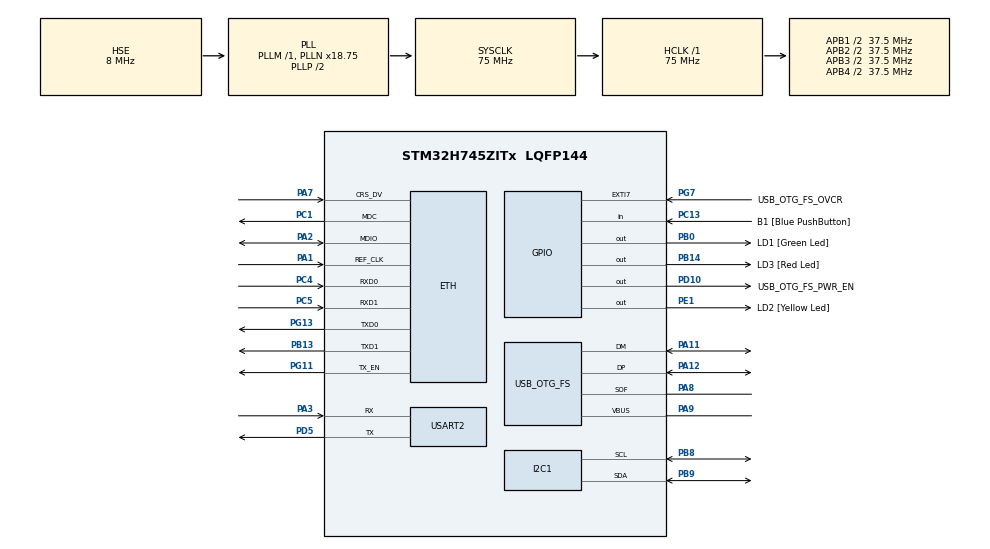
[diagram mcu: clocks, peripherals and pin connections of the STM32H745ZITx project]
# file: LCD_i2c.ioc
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CortexM4.IPs=FATFS_M4\:I,FREERTOS_M4\:I,IWDG2\:I,RCC,WWDG2\:I,DMA,BDMA,MDMA,NVIC2\:I,ETH,DEBUG,USB_DEVICE_M4\:I,USB_HOST_M4\:I,PDM2PCM_M4\:I,PWR,RESMGR_UTILITY,SYS_M4\:I,CORTEX_M4\:I,OPENAMP_M4\:I,VREFBUF,GPIO
CortexM7.IPs=FATFS_M7\:I,FREERTOS_M7\:I,IWDG1\:I,RCC\:I,WWDG1\:I,DMA\:I,BDMA\:I,MDMA\:I,NVIC1\:I,SYS\:I,USB_OTG_FS\:I,ETH\:I,CORTEX_M7\:I,DEBUG\:I,USB_DEVICE_M7\:I,USB_HOST_M7\:I,PDM2PCM_M7\:I,PWR\:I,RESMGR_UTILITY\:I,OPENAMP_M7\:I,VREFBUF\:I,GPIO\:I,I2C1\:I,USART2\:I
ETH.MediaInterface=HAL_ETH_RMII_MODE
FREERTOS_M7.Tasks01=defaultTask,24,128,StartDefaultTask,Default,NULL,Dynamic,NULL,NULL;taskLCD,24,128,startLCD,Default,NULL,Dynamic,NULL,NULL
I2C1.Timing=0x00909FCE
Mcu.Family=STM32H7
Mcu.Name=STM32H745ZITx
Mcu.Package=LQFP144
NVIC1.PriorityGroup=NVIC_PRIORITYGROUP_4
NVIC2.PriorityGroup=NVIC_PRIORITYGROUP_4
PA1.Mode=RMII
PA1.PinAttribute=CortexM7
PA1.Signal=ETH_REF_CLK
PA11.Mode=Device_Only
PA11.PinAttribute=CortexM7
PA11.Signal=USB_OTG_FS_DM
PA12.Mode=Device_Only
PA12.PinAttribute=CortexM7
PA12.Signal=USB_OTG_FS_DP
PA2.Mode=RMII
PA2.PinAttribute=CortexM7
PA2.Signal=ETH_MDIO
PA3.Mode=Asynchronous
PA3.PinAttribute=CortexM7
PA3.Signal=USART2_RX
PA7.Mode=RMII
PA7.PinAttribute=CortexM7
PA7.Signal=ETH_CRS_DV
PA8.Mode=Activate_SOF_FS
PA8.PinAttribute=CortexM7
PA8.Signal=USB_OTG_FS_SOF
PA9.Mode=Activate_VBUS
PA9.PinAttribute=CortexM7
PA9.Signal=USB_OTG_FS_VBUS
PB0.GPIO_Label=LD1 [Green Led]
PB0.PinAttribute=Free
PB0.Signal=GPIO_Output
PB13.Mode=RMII
PB13.PinAttribute=CortexM7
PB13.Signal=ETH_TXD1
PB14.GPIO_Label=LD3 [Red Led]
PB14.PinAttribute=Free
PB14.Signal=GPIO_Output
PB8.Mode=I2C
PB8.PinAttribute=CortexM7
PB8.Signal=I2C1_SCL
PB9.Mode=I2C
PB9.PinAttribute=CortexM7
PB9.Signal=I2C1_SDA
PC1.Mode=RMII
PC1.PinAttribute=CortexM7
PC1.Signal=ETH_MDC
PC13.GPIO_Label=B1 [Blue PushButton]
PC13.PinAttribute=Free
PC13.Signal=GPIO_Input
PC14-OSC32_IN\ (OSC32_IN).Mode=LSE-External-Oscillator
PC14-OSC32_IN\ (OSC32_IN).PinAttribute=CortexM7
PC14-OSC32_IN\ (OSC32_IN).Signal=RCC_OSC32_IN
PC15-OSC32_OUT\ (OSC32_OUT).Mode=LSE-External-Oscillator
PC15-OSC32_OUT\ (OSC32_OUT).PinAttribute=CortexM7
PC15-OSC32_OUT\ (OSC32_OUT).Signal=RCC_OSC32_OUT
PC4.Mode=RMII
PC4.PinAttribute=CortexM7
PC4.Signal=ETH_RXD0
PC5.Mode=RMII
PC5.PinAttribute=CortexM7
PC5.Signal=ETH_RXD1
PD10.GPIO_Label=USB_OTG_FS_PWR_EN
PD10.PinAttribute=Free
PD10.Signal=GPIO_Output
PD5.Mode=Asynchronous
PD5.PinAttribute=CortexM7
PD5.Signal=USART2_TX
PD8.GPIO_Label=STLINK_RX
PD8.PinAttribute=CortexM4
PD8.Signal=USART3_TX
PD9.GPIO_Label=STLINK_TX
PD9.PinAttribute=CortexM4
PD9.Signal=USART3_RX
PE1.GPIO_Label=LD2 [Yellow Led]
PE1.PinAttribute=Free
PE1.Signal=GPIO_Output
PG11.Mode=RMII
PG11.PinAttribute=CortexM7
PG11.Signal=ETH_TX_EN
PG13.Mode=RMII
PG13.PinAttribute=CortexM7
PG13.Signal=ETH_TXD0
PG7.GPIO_Label=USB_OTG_FS_OVCR
PG7.PinAttribute=Free
PG7.Signal=GPXTI7
PH0-OSC_IN\ (PH0).Mode=HSE-External-Clock-Source
PH0-OSC_IN\ (PH0).PinAttribute=CortexM7
PH0-OSC_IN\ (PH0).Signal=RCC_OSC_IN
PH1-OSC_OUT\ (PH1).PinAttribute=CortexM7
PH1-OSC_OUT\ (PH1).Signal=RCC_OSC_OUT
ProjectManager.HeapSize=M4-0x200,M7-0x200
ProjectManager.StackSize=M4-0x400,M7-0x400
ProjectManager.TargetToolchain=STM32CubeIDE
RCC.ADCFreq_Value=16125000
RCC.APB1Freq_Value=37500000
RCC.APB2Freq_Value=37500000
RCC.APB3Freq_Value=37500000
RCC.APB4Freq_Value=37500000
RCC.CortexFreq_Value=75000000
RCC.D1PPRE=RCC_APB3_DIV2
RCC.D2PPRE1=RCC_APB1_DIV2
RCC.D2PPRE2=RCC_APB2_DIV2
RCC.D3PPRE=RCC_APB4_DIV2
RCC.DIVM1=1
RCC.DIVM3=1
RCC.DIVN1=18
RCC.DIVN3=18
RCC.DIVQ3=3
RCC.HCLKFreq_Value=75000000
RCC.HSE_VALUE=8000000
RCC.PLL2FRACN=0
RCC.PLL3FRACN=6144
RCC.PLLFRACN=6144
RCC.SYSCLKFreq_VALUE=75000000
RCC.SYSCLKSource=RCC_SYSCLKSOURCE_PLLCLK
RCC.SupplySource=PWR_DIRECT_SMPS_SUPPLY
RCC.USBCLockSelection=RCC_USBCLKSOURCE_PLL3
RCC.USBFreq_Value=50000000
USART2.VirtualMode-Asynchronous=VM_ASYNC
USB_OTG_FS.VirtualMode=Device_Only
VP_FREERTOS_M7_VS_CMSIS_V2.Mode=CMSIS_V2
VP_SYS_M4_VS_Systick.Mode=SysTick
board=NUCLEO-H745ZI-Q

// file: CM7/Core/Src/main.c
/* USER CODE BEGIN Header */
/**
  ******************************************************************************
  * @file           : main.c
  * @brief          : Main program body
  ******************************************************************************
  * @attention
  *
  * Copyright (c) 2023 STMicroelectronics.
  * All rights reserved.
  *
  * This software is licensed under terms that can be found in the LICENSE file
  * in the root directory of this software component.
  * If no LICENSE file comes with this software, it is provided AS-IS.
  *
  ******************************************************************************
  */
/* USER CODE END Header */
#include "main.h"
#include "string.h"
#include "cmsis_os.h"

/* USER CODE BEGIN Includes */
#include <stdio.h>
#include "i2c-lcd.h"
/* USER CODE END Includes */

/* USER CODE BEGIN PD */

#ifndef HSEM_ID_0
#define HSEM_ID_0 (0U) /* HW semaphore 0*/
#endif

/* USER CODE END PD */

#if defined ( __ICCARM__ ) /*!< IAR Compiler */
#pragma location=0x30000000
ETH_DMADescTypeDef  DMARxDscrTab[ETH_RX_DESC_CNT]; /* Ethernet Rx DMA Descriptors */
#pragma location=0x30000200
ETH_DMADescTypeDef  DMATxDscrTab[ETH_TX_DESC_CNT]; /* Ethernet Tx DMA Descriptors */

#elif defined ( __CC_ARM )  /* MDK ARM Compiler */

__attribute__((at(0x30000000))) ETH_DMADescTypeDef  DMARxDscrTab[ETH_RX_DESC_CNT]; /* Ethernet Rx DMA Descriptors */
__attribute__((at(0x30000200))) ETH_DMADescTypeDef  DMATxDscrTab[ETH_TX_DESC_CNT]; /* Ethernet Tx DMA Descriptors */

#elif defined ( __GNUC__ ) /* GNU Compiler */
ETH_DMADescTypeDef DMARxDscrTab[ETH_RX_DESC_CNT] __attribute__((section(".RxDecripSection"))); /* Ethernet Rx DMA Descriptors */
ETH_DMADescTypeDef DMATxDscrTab[ETH_TX_DESC_CNT] __attribute__((section(".TxDecripSection")));   /* Ethernet Tx DMA Descriptors */

#endif

ETH_TxPacketConfig TxConfig;

ETH_HandleTypeDef heth;

I2C_HandleTypeDef hi2c1;

UART_HandleTypeDef huart2;

PCD_HandleTypeDef hpcd_USB_OTG_FS;

/* Definitions for defaultTask */
osThreadId_t defaultTaskHandle;
const osThreadAttr_t defaultTask_attributes = {
  .name = "defaultTask",
  .stack_size = 128 * 4,
  .priority = (osPriority_t) osPriorityNormal,
};
/* Definitions for taskLCD */
osThreadId_t taskLCDHandle;
const osThreadAttr_t taskLCD_attributes = {
  .name = "taskLCD",
  .stack_size = 128 * 4,
  .priority = (osPriority_t) osPriorityNormal,
};

void SystemClock_Config(void);
static void MX_GPIO_Init(void);
static void MX_ETH_Init(void);
static void MX_USB_OTG_FS_PCD_Init(void);
static void MX_I2C1_Init(void);
static void MX_USART2_UART_Init(void);
void StartDefaultTask(void *argument);
void startLCD(void *argument);

/* USER CODE BEGIN 0 */
int row=0;
int col=0;
/* USER CODE END 0 */

int main(void)
{
/* USER CODE BEGIN Boot_Mode_Sequence_0 */
  int32_t timeout;
/* USER CODE END Boot_Mode_Sequence_0 */

/* USER CODE BEGIN Boot_Mode_Sequence_1 */
  /* Wait until CPU2 boots and enters in stop mode or timeout*/
  timeout = 0xFFFF;
  while((__HAL_RCC_GET_FLAG(RCC_FLAG_D2CKRDY) != RESET) && (timeout-- > 0));
  if ( timeout < 0 )
  {
  Error_Handler();
  }
/* USER CODE END Boot_Mode_Sequence_1 */
  /* MCU Configuration--------------------------------------------------------*/

  /* Reset of all peripherals, Initializes the Flash interface and the Systick. */
  HAL_Init();

  /* Configure the system clock */
  SystemClock_Config();
/* USER CODE BEGIN Boot_Mode_Sequence_2 */
/* When system initialization is finished, Cortex-M7 will release Cortex-M4 by means of
HSEM notification */
/*HW semaphore Clock enable*/
__HAL_RCC_HSEM_CLK_ENABLE();
/*Take HSEM */
HAL_HSEM_FastTake(HSEM_ID_0);
/*Release HSEM in order to notify the CPU2(CM4)*/
HAL_HSEM_Release(HSEM_ID_0,0);
/* wait until CPU2 wakes up from stop mode */
timeout = 0xFFFF;
while((__HAL_RCC_GET_FLAG(RCC_FLAG_D2CKRDY) == RESET) && (timeout-- > 0));
if ( timeout < 0 )
{
Error_Handler();
}
/* USER CODE END Boot_Mode_Sequence_2 */

  /* Initialize all configured peripherals */
  MX_GPIO_Init();
  MX_ETH_Init();
  MX_USB_OTG_FS_PCD_Init();
  MX_I2C1_Init();
  MX_USART2_UART_Init();

  /* Init scheduler */
  osKernelInitialize();

  /* Create the thread(s) */
  /* creation of defaultTask */
  defaultTaskHandle = osThreadNew(StartDefaultTask, NULL, &defaultTask_attributes);

  /* creation of taskLCD */
  taskLCDHandle = osThreadNew(startLCD, NULL, &taskLCD_attributes);

  /* Start scheduler */
  osKernelStart();

  /* We should never get here as control is now taken by the scheduler */
  /* Infinite loop */
  while (1)
  {

    /* USER CODE BEGIN 3 */
	  for (int i=0;i<128;i++)
	  {
		  lcd_put_cur(row, col);

		  lcd_send_data(i+48);

		  col++;

		  if (col > 15) {row++; col = 0;}
		  if (row > 1) row=0;

		  HAL_Delay(250);
	  }
  }
  /* USER CODE END 3 */
}

void SystemClock_Config(void)
{
  RCC_OscInitTypeDef RCC_OscInitStruct = {0};
  RCC_ClkInitTypeDef RCC_ClkInitStruct = {0};

  /** Supply configuration update enable
  */
  HAL_PWREx_ConfigSupply(PWR_DIRECT_SMPS_SUPPLY);

  /** Configure the main internal regulator output voltage
  */
  __HAL_PWR_VOLTAGESCALING_CONFIG(PWR_REGULATOR_VOLTAGE_SCALE3);

  while(!__HAL_PWR_GET_FLAG(PWR_FLAG_VOSRDY)) {}

  /** Initializes the RCC Oscillators according to the specified parameters
  * in the RCC_OscInitTypeDef structure.
  */
  RCC_OscInitStruct.OscillatorType = RCC_OSCILLATORTYPE_HSE;
  RCC_OscInitStruct.HSEState = RCC_HSE_BYPASS;
  RCC_OscInitStruct.PLL.PLLState = RCC_PLL_ON;
  RCC_OscInitStruct.PLL.PLLSource = RCC_PLLSOURCE_HSE;
  RCC_OscInitStruct.PLL.PLLM = 1;
  RCC_OscInitStruct.PLL.PLLN = 18;
  RCC_OscInitStruct.PLL.PLLP = 2;
  RCC_OscInitStruct.PLL.PLLQ = 2;
  RCC_OscInitStruct.PLL.PLLR = 2;
  RCC_OscInitStruct.PLL.PLLRGE = RCC_PLL1VCIRANGE_3;
  RCC_OscInitStruct.PLL.PLLVCOSEL = RCC_PLL1VCOMEDIUM;
  RCC_OscInitStruct.PLL.PLLFRACN = 6144;
  if (HAL_RCC_OscConfig(&RCC_OscInitStruct) != HAL_OK)
  {
    Error_Handler();
  }

  /** Initializes the CPU, AHB and APB buses clocks
  */
  RCC_ClkInitStruct.ClockType = RCC_CLOCKTYPE_HCLK|RCC_CLOCKTYPE_SYSCLK
                              |RCC_CLOCKTYPE_PCLK1|RCC_CLOCKTYPE_PCLK2
                              |RCC_CLOCKTYPE_D3PCLK1|RCC_CLOCKTYPE_D1PCLK1;
  RCC_ClkInitStruct.SYSCLKSource = RCC_SYSCLKSOURCE_PLLCLK;
  RCC_ClkInitStruct.SYSCLKDivider = RCC_SYSCLK_DIV1;
  RCC_ClkInitStruct.AHBCLKDivider = RCC_HCLK_DIV1;
  RCC_ClkInitStruct.APB3CLKDivider = RCC_APB3_DIV2;
  RCC_ClkInitStruct.APB1CLKDivider = RCC_APB1_DIV2;
  RCC_ClkInitStruct.APB2CLKDivider = RCC_APB2_DIV2;
  RCC_ClkInitStruct.APB4CLKDivider = RCC_APB4_DIV2;

  if (HAL_RCC_ClockConfig(&RCC_ClkInitStruct, FLASH_LATENCY_1) != HAL_OK)
  {
    Error_Handler();
  }
}

static void MX_ETH_Init(void)
{

   static uint8_t MACAddr[6];

  heth.Instance = ETH;
  MACAddr[0] = 0x00;
  MACAddr[1] = 0x80;
  MACAddr[2] = 0xE1;
  MACAddr[3] = 0x00;
  MACAddr[4] = 0x00;
  MACAddr[5] = 0x00;
  heth.Init.MACAddr = &MACAddr[0];
  heth.Init.MediaInterface = HAL_ETH_RMII_MODE;
  heth.Init.TxDesc = DMATxDscrTab;
  heth.Init.RxDesc = DMARxDscrTab;
  heth.Init.RxBuffLen = 1524;

  if (HAL_ETH_Init(&heth) != HAL_OK)
  {
    Error_Handler();
  }

  memset(&TxConfig, 0 , sizeof(ETH_TxPacketConfig));
  TxConfig.Attributes = ETH_TX_PACKETS_FEATURES_CSUM | ETH_TX_PACKETS_FEATURES_CRCPAD;
  TxConfig.ChecksumCtrl = ETH_CHECKSUM_IPHDR_PAYLOAD_INSERT_PHDR_CALC;
  TxConfig.CRCPadCtrl = ETH_CRC_PAD_INSERT;

}

static void MX_I2C1_Init(void)
{

  hi2c1.Instance = I2C1;
  hi2c1.Init.Timing = 0x00909FCE;
  hi2c1.Init.OwnAddress1 = 0;
  hi2c1.Init.AddressingMode = I2C_ADDRESSINGMODE_7BIT;
  hi2c1.Init.DualAddressMode = I2C_DUALADDRESS_DISABLE;
  hi2c1.Init.OwnAddress2 = 0;
  hi2c1.Init.OwnAddress2Masks = I2C_OA2_NOMASK;
  hi2c1.Init.GeneralCallMode = I2C_GENERALCALL_DISABLE;
  hi2c1.Init.NoStretchMode = I2C_NOSTRETCH_DISABLE;
  if (HAL_I2C_Init(&hi2c1) != HAL_OK)
  {
    Error_Handler();
  }

  /** Configure Analogue filter
  */
  if (HAL_I2CEx_ConfigAnalogFilter(&hi2c1, I2C_ANALOGFILTER_ENABLE) != HAL_OK)
  {
    Error_Handler();
  }

  /** Configure Digital filter
  */
  if (HAL_I2CEx_ConfigDigitalFilter(&hi2c1, 0) != HAL_OK)
  {
    Error_Handler();
  }

}

static void MX_USART2_UART_Init(void)
{

  huart2.Instance = USART2;
  huart2.Init.BaudRate = 115200;
  huart2.Init.WordLength = UART_WORDLENGTH_8B;
  huart2.Init.StopBits = UART_STOPBITS_1;
  huart2.Init.Parity = UART_PARITY_NONE;
  huart2.Init.Mode = UART_MODE_TX_RX;
  huart2.Init.HwFlowCtl = UART_HWCONTROL_NONE;
  huart2.Init.OverSampling = UART_OVERSAMPLING_16;
  huart2.Init.OneBitSampling = UART_ONE_BIT_SAMPLE_DISABLE;
  huart2.Init.ClockPrescaler = UART_PRESCALER_DIV1;
  huart2.AdvancedInit.AdvFeatureInit = UART_ADVFEATURE_NO_INIT;
  if (HAL_UART_Init(&huart2) != HAL_OK)
  {
    Error_Handler();
  }
  if (HAL_UARTEx_SetTxFifoThreshold(&huart2, UART_TXFIFO_THRESHOLD_1_8) != HAL_OK)
  {
    Error_Handler();
  }
  if (HAL_UARTEx_SetRxFifoThreshold(&huart2, UART_RXFIFO_THRESHOLD_1_8) != HAL_OK)
  {
    Error_Handler();
  }
  if (HAL_UARTEx_DisableFifoMode(&huart2) != HAL_OK)
  {
    Error_Handler();
  }

}

static void MX_USB_OTG_FS_PCD_Init(void)
{

  hpcd_USB_OTG_FS.Instance = USB_OTG_FS;
  hpcd_USB_OTG_FS.Init.dev_endpoints = 9;
  hpcd_USB_OTG_FS.Init.speed = PCD_SPEED_FULL;
  hpcd_USB_OTG_FS.Init.dma_enable = DISABLE;
  hpcd_USB_OTG_FS.Init.phy_itface = PCD_PHY_EMBEDDED;
  hpcd_USB_OTG_FS.Init.Sof_enable = DISABLE;
  hpcd_USB_OTG_FS.Init.low_power_enable = DISABLE;
  hpcd_USB_OTG_FS.Init.lpm_enable = DISABLE;
  hpcd_USB_OTG_FS.Init.battery_charging_enable = ENABLE;
  hpcd_USB_OTG_FS.Init.vbus_sensing_enable = ENABLE;
  hpcd_USB_OTG_FS.Init.use_dedicated_ep1 = DISABLE;
  if (HAL_PCD_Init(&hpcd_USB_OTG_FS) != HAL_OK)
  {
    Error_Handler();
  }

}

static void MX_GPIO_Init(void)
{

  /* GPIO Ports Clock Enable */
  __HAL_RCC_GPIOC_CLK_ENABLE();
  __HAL_RCC_GPIOH_CLK_ENABLE();
  __HAL_RCC_GPIOA_CLK_ENABLE();
  __HAL_RCC_GPIOB_CLK_ENABLE();
  __HAL_RCC_GPIOD_CLK_ENABLE();
  __HAL_RCC_GPIOG_CLK_ENABLE();

}

void StartDefaultTask(void *argument)
{
  for(;;)
  {
    osDelay(1);
  }
}

void startLCD(void *argument)
{
  /* USER CODE BEGIN startLCD */
  /* Infinite loop */
	lcd_init();
  for(;;)
  {
	lcd_put_cur(0, 0);
	lcd_send_string ("HELLO WORLD");
	lcd_put_cur(1, 0);

	lcd_send_string("from VIC");
    osDelay(1);
  }
  /* USER CODE END startLCD */
}

void Error_Handler(void)
{
  __disable_irq();
  while (1)
  {
  }
}
